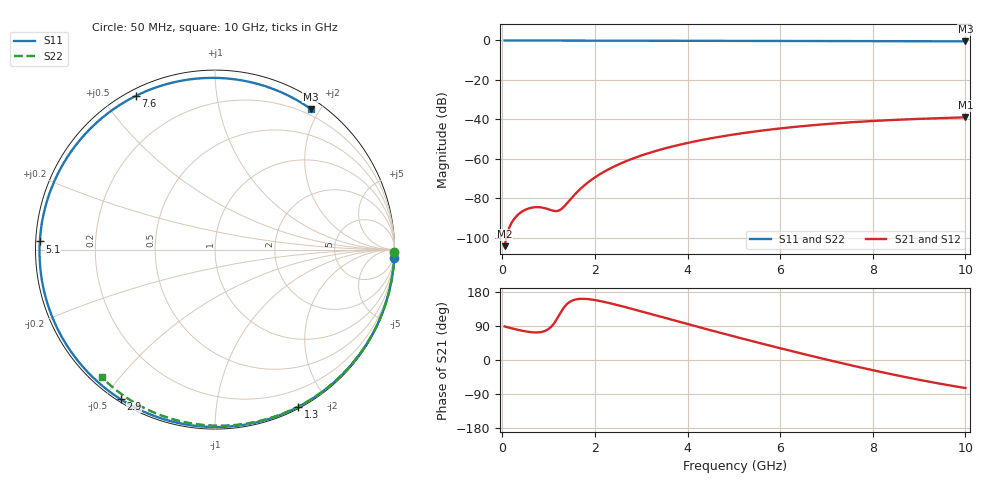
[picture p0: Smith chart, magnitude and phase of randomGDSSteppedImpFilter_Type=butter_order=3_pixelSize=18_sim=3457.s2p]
! freq	dB(S11)	phase(S11)	dB(S12)	phase(S12)
!  dB(S21)	phase(S21)	dB(S22)	phase(S22)
!S-par simulation data
#  GHz  S  DB  R 50
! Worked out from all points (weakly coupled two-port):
!   200 points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, 50 MHz to 10 GHz, reference 50 ohm
!   highest |S21| = -38.93 dB at 10 GHz (marker M1); lowest = -104.2 dB at 50 MHz (marker M2)
!   lowest |S11| = -0.5 dB at 10 GHz (marker M3), VSWR 37.47, Z = 6.09 + j94.2 ohm
!   |S11| at or under -10 dB: nowhere
!   |S22| runs from -0.4 to 0.0 dB; largest |S21 - S12| = 0
!   S11 on the Smith chart (normalised r, x): 50 MHz: 0, -45; 1.3 GHz: 0.02, -1.66; 2.9 GHz: 0.01, -0.55; 5.1 GHz: 0.01, +0.02; 7.6 GHz: 0.03, +0.61; 10 GHz: 0.12, +1.88
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0.05  -0.00 -2.5  -104.17 88.5  -104.17 88.5  -0.00 -0.8
0.3  -0.02 -15.0  -89.13 80.7  -89.13 80.7  -0.01 -4.6
0.6  -0.04 -29.7  -84.86 73.7  -84.86 73.7  -0.01 -9.1
0.95  -0.06 -46.3  -85.13 78.2  -85.13 78.2  -0.02 -14.4
1.3  -0.07 -62.1  -84.88 133.0  -84.88 133.0  -0.02 -19.6
1.5  -0.08 -70.7  -79.67 156.2  -79.67 156.2  -0.03 -22.6
1.75  -0.09 -81.0  -73.82 161.5  -73.82 161.5  -0.03 -26.2
2  -0.10 -90.8  -69.35 158.2  -69.35 158.2  -0.04 -29.9
2.25  -0.11 -100.1  -65.81 151.9  -65.81 151.9  -0.04 -33.6
2.9  -0.13 -122.2  -59.10 131.6  -59.10 131.6  -0.06 -42.9
3.4  -0.14 -137.5  -55.38 114.9  -55.38 114.9  -0.07 -50.0
3.8  -0.15 -149.0  -52.96 101.5  -52.96 101.5  -0.08 -55.5
4.2  -0.17 -159.8  -50.91 88.3  -50.91 88.3  -0.09 -61.0
4.6  -0.18 -170.2  -49.14 75.2  -49.14 75.2  -0.10 -66.4
5.05  -0.20 178.6  -47.43 60.7  -47.43 60.7  -0.11 -72.3
5.1  -0.20 177.3  -47.26 59.2  -47.26 59.2  -0.11 -73.0
5.9  -0.24 158.0  -44.81 34.1  -44.81 34.1  -0.14 -83.3
6.7  -0.28 138.9  -42.93 10.0  -42.93 10.0  -0.18 -93.2
7.6  -0.32 117.2  -41.34 -15.9  -41.34 -15.9  -0.23 -104.1
8.35  -0.37 98.6  -40.37 -36.1  -40.37 -36.1  -0.29 -112.9
9.15  -0.41 78.1  -39.59 -55.7  -39.59 -55.7  -0.36 -122.0
10  -0.46 55.8  -38.93 -74.0  -38.93 -74.0  -0.44 -131.7
